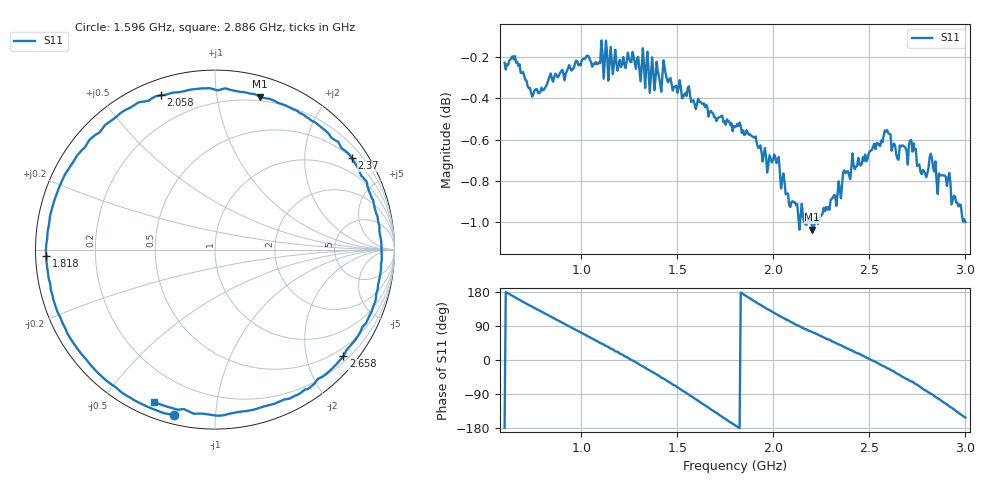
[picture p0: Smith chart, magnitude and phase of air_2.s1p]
! nanovna_capture.py 2026-10-18T19:22:08+0900
! NanoVNA-F_V2 fw 0.6.0 SN 4A3639384505514B
! cal: load open short cal'ed  over 600000000-3000000000 Hz, 201 points
! points 401, avg 4
! free air, >=10 cm, capture 2
# HZ S RI R 50
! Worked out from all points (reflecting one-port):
!   401 points, 600 MHz to 3 GHz, reference 50 ohm
!   lowest |S11| = -1.0 dB at 2.202 GHz (marker M1), VSWR 16.75, Z = 8.26 + j66.1 ohm
!   phase of S11 starts at -179 deg and turns -693 deg over the sweep
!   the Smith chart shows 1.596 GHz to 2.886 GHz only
!   S11 on the Smith chart (normalised r, x): 1.596 GHz: 0.04, -0.78; 1.818 GHz: 0.03, -0.02; 2.058 GHz: 0.07, +0.71; 2.37 GHz: 0.50, +3.23; 2.658 GHz: 0.31, -2.73; 2.886 GHz: 0.06, -0.68
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6e8  -0.9741 -0.0186
7.26e8  -0.7878 0.5495
8.28e8  -0.4555 0.8506
9e8  -0.1423 0.96
1.032e9  0.4436 0.8717
1.116e9  0.7276 0.6348
1.2e9  0.9325 0.2875
1.26e9  0.9745 0.00722
1.332e9  0.9003 -0.335
1.434e9  0.6128 -0.7533
1.5e9  0.2922 -0.9124
1.596e9  -0.2275 -0.9216
1.704e9  -0.7185 -0.6107
1.8e9  -0.931 -0.1286
1.818e9  -0.9397 -0.0363
1.878e9  -0.8934 0.2796
1.95e9  -0.7112 0.5924
2.058e9  -0.3028 0.8598
2.1e9  -0.1296 0.8923
2.202e9  0.2499 0.8514
2.37e9  0.7631 0.509
2.4e9  0.8147 0.4118
2.532e9  0.9249 -0.0791
2.658e9  0.7151 -0.5949
2.7e9  0.5737 -0.7197
2.814e9  0.0493 -0.9228
2.886e9  -0.3396 -0.8494
3e9  -0.7871 -0.418
